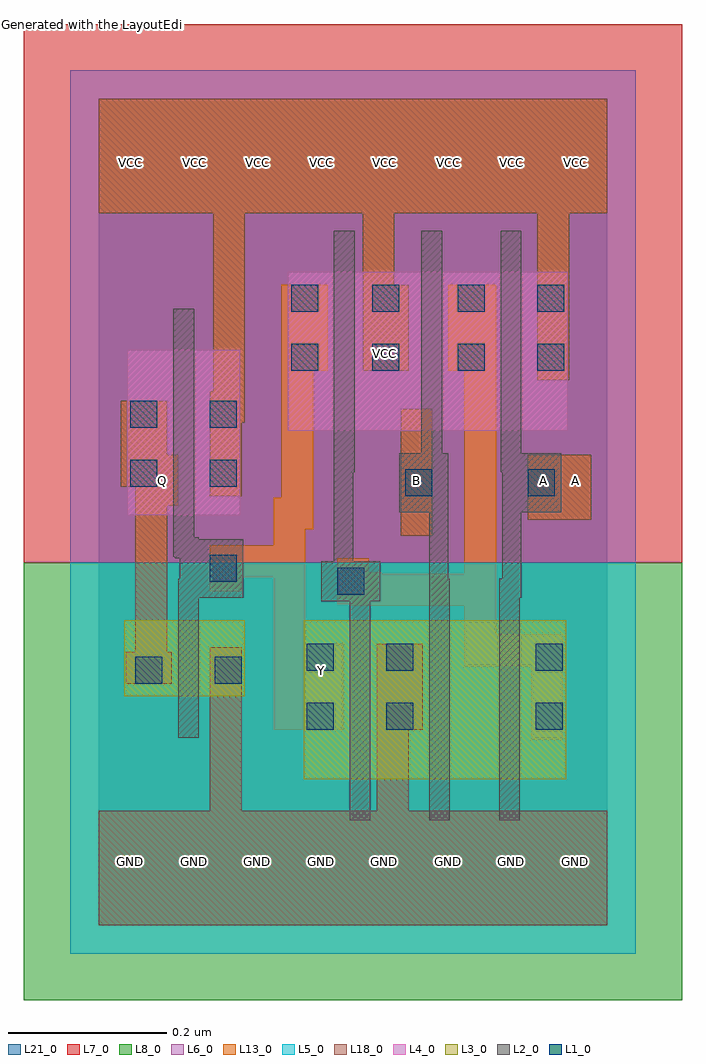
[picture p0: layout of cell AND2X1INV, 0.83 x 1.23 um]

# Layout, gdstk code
import gdstk
lib = gdstk.Library(unit=1e-6, precision=1e-09)
def R(c, l, rs):  # rectangles x0, y0, x1, y1
    for r in rs: c.add(gdstk.rectangle(r[:2], r[2:], *l))
L1_0 = (1, 0)
L2_0 = (2, 0)
L3_0 = (3, 0)
L4_0 = (4, 0)
L5_0 = (5, 0)
L6_0 = (6, 0)
L7_0 = (7, 0)
L8_0 = (8, 0)
L13_0 = (13, 0)
L18_0 = (18, 0)
L21_0 = (21, 0)

and2x1inv = lib.new_cell('AND2X1INV')
R(and2x1inv, L1_0, [(0.262,0.246,0.296,0.28), (0.362,0.246,0.396,0.28), (0.55,0.246,0.584,0.28), (0.046,0.304,0.08,0.338), (0.146,0.304,0.18,0.338), (0.262,0.32,0.296,0.354), (0.362,0.32,0.396,0.354), (0.55,0.32,0.584,0.354), (0.3,0.416,0.334,0.45), (0.14,0.432,0.174,0.466), (0.386,0.54,0.42,0.574), (0.54,0.54,0.574,0.574), (0.04,0.552,0.074,0.586), (0.14,0.552,0.174,0.586), (0.04,0.626,0.074,0.66), (0.14,0.626,0.174,0.66), (0.242,0.698,0.276,0.732), (0.344,0.698,0.378,0.732), (0.452,0.698,0.486,0.732), (0.552,0.698,0.586,0.732), (0.242,0.772,0.276,0.806), (0.344,0.772,0.378,0.806), (0.452,0.772,0.486,0.806), (0.552,0.772,0.586,0.806)])
R(and2x1inv, L2_0, [(0.316,0.132,0.342,0.436), (0.416,0.132,0.442,0.436), (0.504,0.132,0.53,0.436), (0.1,0.236,0.126,0.436), (0.28,0.408,0.354,0.458), (0.102,0.412,0.182,0.486), (0.102,0.412,0.126,0.436), (0.316,0.412,0.34,0.436), (0.416,0.412,0.44,0.544), (0.506,0.412,0.53,0.436), (0.506,0.412,0.532,0.436), (0.508,0.412,0.532,0.544), (0.296,0.434,0.32,0.594), (0.096,0.462,0.126,0.488), (0.102,0.462,0.126,0.486), (0.094,0.464,0.12,0.776), (0.096,0.464,0.12,0.488), (0.378,0.52,0.44,0.594), (0.416,0.52,0.44,0.544), (0.416,0.52,0.44,0.544), (0.508,0.52,0.582,0.594), (0.296,0.57,0.32,0.594), (0.296,0.57,0.32,0.594), (0.296,0.57,0.322,0.874), (0.406,0.57,0.43,0.594), (0.406,0.57,0.432,0.874), (0.506,0.57,0.532,0.874), (0.508,0.57,0.532,0.594)])
R(and2x1inv, L3_0, [(0.258,0.184,0.3,0.384), (0.258,0.184,0.4,0.384), (0.358,0.184,0.4,0.384), (0.358,0.184,0.486,0.384), (0.46,0.184,0.588,0.384), (0.546,0.184,0.588,0.384), (0.032,0.288,0.084,0.384), (0.032,0.288,0.184,0.384), (0.142,0.288,0.184,0.384)])
R(and2x1inv, L4_0, [(0.036,0.516,0.078,0.724), (0.036,0.516,0.178,0.724), (0.136,0.516,0.178,0.724), (0.238,0.622,0.28,0.822), (0.238,0.622,0.382,0.822), (0.34,0.622,0.382,0.822), (0.34,0.622,0.49,0.822), (0.448,0.622,0.49,0.822), (0.448,0.622,0.59,0.822), (0.548,0.622,0.59,0.822)])
R(and2x1inv, L5_0, [(-0.036,-0.036,0.676,0.456)])
R(and2x1inv, L6_0, [(-0.036,0.456,0.676,1.076)])
R(and2x1inv, L7_0, [(-0.094,0.456,0.734,1.134)])
R(and2x1inv, L8_0, [(-0.094,-0.094,0.734,0.456)])
R(and2x1inv, L13_0, [(0,0,0.64,0.144), (0.14,0.104,0.18,0.332), (0.35,0.104,0.39,0.144), (0.35,0.104,0.39,0.144), (0.35,0.104,0.39,0.286), (0.544,0.234,0.584,0.366), (0.22,0.246,0.308,0.354), (0.35,0.246,0.408,0.354), (0.14,0.292,0.18,0.332), (0.14,0.292,0.18,0.332), (0.14,0.292,0.18,0.332), (0.14,0.292,0.18,0.332), (0.14,0.292,0.18,0.35), (0.034,0.304,0.092,0.344), (0.046,0.304,0.086,0.568), (0.22,0.314,0.26,0.478), (0.46,0.326,0.5,0.366), (0.46,0.326,0.5,0.442), (0.46,0.326,0.584,0.366), (0.544,0.326,0.584,0.366), (0.544,0.326,0.584,0.366), (0.316,0.402,0.356,0.444), (0.316,0.402,0.428,0.442), (0.388,0.402,0.428,0.442), (0.388,0.402,0.5,0.442), (0.46,0.402,0.5,0.442), (0.46,0.402,0.5,0.738), (0.3,0.404,0.34,0.462), (0.3,0.404,0.356,0.444), (0.14,0.42,0.18,0.478), (0.14,0.438,0.184,0.478), (0.144,0.438,0.184,0.478), (0.144,0.438,0.26,0.478), (0.22,0.438,0.26,0.478), (0.22,0.438,0.26,0.538), (0.38,0.49,0.42,0.65), (0.22,0.498,0.27,0.538), (0.23,0.498,0.27,0.738), (0.54,0.51,0.62,0.592), (0.046,0.528,0.1,0.592), (0.14,0.54,0.18,0.672), (0.028,0.552,0.086,0.66), (0.046,0.552,0.086,0.592), (0.046,0.552,0.086,0.592), (0.046,0.552,0.086,0.592), (0.14,0.632,0.18,0.672), (0.14,0.632,0.184,0.672), (0.144,0.632,0.184,0.672), (0.144,0.632,0.184,0.672), (0.144,0.632,0.184,0.936), (0.552,0.686,0.592,0.818), (0.23,0.698,0.288,0.806), (0.332,0.698,0.39,0.806), (0.44,0.698,0.5,0.806), (0.46,0.698,0.5,0.738), (0.46,0.698,0.5,0.738), (0.332,0.766,0.372,0.806), (0.332,0.766,0.372,0.806), (0.332,0.766,0.372,0.806), (0.332,0.766,0.372,0.806), (0.332,0.766,0.372,0.936), (0.552,0.778,0.592,0.818), (0.552,0.778,0.592,0.818), (0.552,0.778,0.592,0.818), (0.552,0.778,0.592,0.818), (0.552,0.778,0.592,0.936), (0,0.896,0.64,1.04)])
R(and2x1inv, L18_0, [(0,0,0.64,0.144), (0.14,0.104,0.18,0.332), (0.35,0.104,0.39,0.144), (0.35,0.104,0.39,0.144), (0.35,0.104,0.39,0.286), (0.35,0.246,0.408,0.354), (0.14,0.292,0.18,0.332), (0.14,0.292,0.18,0.332), (0.14,0.292,0.18,0.332), (0.14,0.292,0.18,0.332), (0.14,0.292,0.18,0.35), (0.034,0.304,0.092,0.344), (0.046,0.304,0.086,0.568), (0.38,0.49,0.42,0.65), (0.54,0.51,0.62,0.592), (0.046,0.528,0.1,0.592), (0.06,0.54,0.1,0.58), (0.14,0.54,0.18,0.672), (0.38,0.54,0.42,0.58), (0.54,0.54,0.58,0.58), (0.028,0.552,0.086,0.66), (0.046,0.552,0.086,0.592), (0.046,0.552,0.086,0.592), (0.046,0.552,0.086,0.592), (0.14,0.632,0.18,0.672), (0.14,0.632,0.184,0.672), (0.144,0.632,0.184,0.672), (0.144,0.632,0.184,0.672), (0.144,0.632,0.184,0.936), (0.552,0.686,0.592,0.818), (0.332,0.698,0.39,0.806), (0.332,0.766,0.372,0.806), (0.332,0.766,0.372,0.806), (0.332,0.766,0.372,0.806), (0.332,0.766,0.372,0.806), (0.332,0.766,0.372,0.936), (0.552,0.778,0.592,0.818), (0.552,0.778,0.592,0.818), (0.552,0.778,0.592,0.818), (0.552,0.778,0.592,0.818), (0.552,0.778,0.592,0.936), (0,0.896,0.64,1.04)])
R(and2x1inv, L21_0, [(0,0,0.64,1.04)])
and2x1inv.add(gdstk.Label('Generated with the LayoutEditor (This message will NOT added in any commercial version of the LayoutEditor.)', (-0.094,1.134), layer=18, texttype=13476))
and2x1inv.add(gdstk.Label('VCC', (0.6,0.96), layer=13, texttype=0))
and2x1inv.add(gdstk.Label('A', (0.6,0.56), layer=13, texttype=0))
and2x1inv.add(gdstk.Label('GND', (0.6,0.08), layer=13, texttype=0))
and2x1inv.add(gdstk.Label('VCC', (0.52,0.96), layer=13, texttype=0))
and2x1inv.add(gdstk.Label('GND', (0.52,0.08), layer=13, texttype=0))
and2x1inv.add(gdstk.Label('VCC', (0.44,0.96), layer=13, texttype=0))
and2x1inv.add(gdstk.Label('GND', (0.44,0.08), layer=13, texttype=0))
and2x1inv.add(gdstk.Label('VCC', (0.36,0.96), layer=13, texttype=0))
and2x1inv.add(gdstk.Label('VCC', (0.36,0.72), layer=13, texttype=0))
and2x1inv.add(gdstk.Label('GND', (0.36,0.08), layer=13, texttype=0))
and2x1inv.add(gdstk.Label('VCC', (0.28,0.96), layer=13, texttype=0))
and2x1inv.add(gdstk.Label('Y', (0.28,0.32), layer=13, texttype=0))
and2x1inv.add(gdstk.Label('GND', (0.28,0.08), layer=13, texttype=0))
and2x1inv.add(gdstk.Label('VCC', (0.2,0.96), layer=13, texttype=0))
and2x1inv.add(gdstk.Label('GND', (0.2,0.08), layer=13, texttype=0))
and2x1inv.add(gdstk.Label('VCC', (0.12,0.96), layer=13, texttype=0))
and2x1inv.add(gdstk.Label('GND', (0.12,0.08), layer=13, texttype=0))
and2x1inv.add(gdstk.Label('VCC', (0.04,0.96), layer=13, texttype=0))
and2x1inv.add(gdstk.Label('GND', (0.04,0.08), layer=13, texttype=0))
and2x1inv.add(gdstk.Label('Q', (0.08,0.56), layer=13, texttype=0))
and2x1inv.add(gdstk.Label('B', (0.4,0.56), layer=13, texttype=0))
and2x1inv.add(gdstk.Label('A', (0.56,0.56), layer=13, texttype=0))

lib.write_gds('AND2X1INV.gds')
